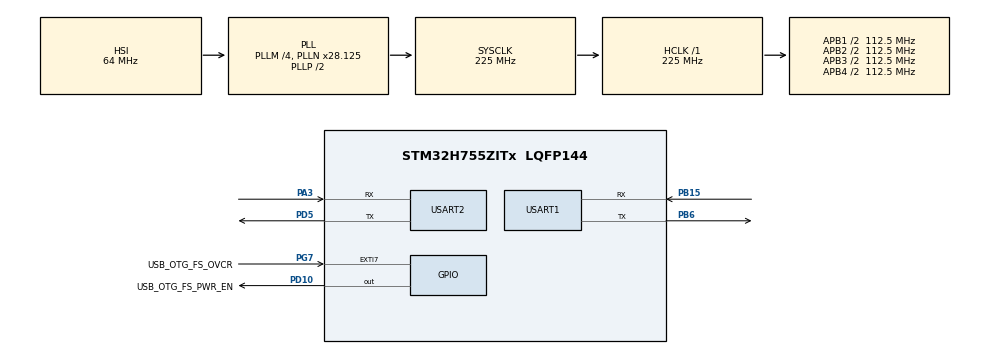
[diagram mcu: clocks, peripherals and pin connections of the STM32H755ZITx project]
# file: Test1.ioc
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CortexM4.IPs=FATFS_M4\:I,FREERTOS_M4\:I,IWDG2\:I,RCC,WWDG2\:I,DMA,BDMA,MDMA,NVIC2\:I,ETH,USART3,DEBUG,PDM2PCM_M4\:I,PWR,RESMGR_UTILITY,SYS_M4\:I,USB_DEVICE_M4\:I,USB_HOST_M4\:I,CORTEX_M4\:I,GPIO,OPENAMP_M4\:I,VREFBUF,NUCLEO-H755ZI-Q
CortexM7.IPs=FATFS_M7\:I,FREERTOS_M7\:I,IWDG1\:I,RCC\:I,WWDG1\:I,DMA\:I,BDMA\:I,MDMA\:I,NVIC1\:I,ETH\:I,USB_OTG_FS\:I,USB_OTG_FS1\:I,SYS\:I,CORTEX_M7\:I,DEBUG\:I,PDM2PCM_M7\:I,PWR\:I,RESMGR_UTILITY\:I,USB_DEVICE_M7\:I,USB_HOST_M7\:I,GPIO\:I,OPENAMP_M7\:I,VREFBUF\:I,NUCLEO-H755ZI-Q\:I,USART2\:I,TIM2\:I,USART3\:I,USART1\:I
CortexM7.Pins=PD10,PG7
Dma.Request0=USART2_TX
Dma.Request1=USART1_RX
Dma.Request2=USART1_TX
Dma.USART1_RX.1.Direction=DMA_PERIPH_TO_MEMORY
Dma.USART1_RX.1.EventEnable=DISABLE
Dma.USART1_RX.1.FIFOMode=DMA_FIFOMODE_DISABLE
Dma.USART1_RX.1.Instance=DMA1_Stream0
Dma.USART1_RX.1.MemDataAlignment=DMA_MDATAALIGN_BYTE
Dma.USART1_RX.1.MemInc=DMA_MINC_ENABLE
Dma.USART1_RX.1.Mode=DMA_CIRCULAR
Dma.USART1_RX.1.PeriphDataAlignment=DMA_PDATAALIGN_BYTE
Dma.USART1_RX.1.PeriphInc=DMA_PINC_DISABLE
Dma.USART1_RX.1.Polarity=HAL_DMAMUX_REQ_GEN_RISING
Dma.USART1_RX.1.Priority=DMA_PRIORITY_LOW
Dma.USART1_RX.1.RequestNumber=1
Dma.USART1_RX.1.SignalID=NONE
Dma.USART1_RX.1.SyncEnable=DISABLE
Dma.USART1_RX.1.SyncPolarity=HAL_DMAMUX_SYNC_NO_EVENT
Dma.USART1_RX.1.SyncRequestNumber=1
Dma.USART1_RX.1.SyncSignalID=NONE
Dma.USART1_TX.2.Direction=DMA_MEMORY_TO_PERIPH
Dma.USART1_TX.2.EventEnable=DISABLE
Dma.USART1_TX.2.FIFOMode=DMA_FIFOMODE_DISABLE
Dma.USART1_TX.2.Instance=DMA1_Stream1
Dma.USART1_TX.2.MemDataAlignment=DMA_MDATAALIGN_BYTE
Dma.USART1_TX.2.MemInc=DMA_MINC_ENABLE
Dma.USART1_TX.2.Mode=DMA_NORMAL
Dma.USART1_TX.2.PeriphDataAlignment=DMA_PDATAALIGN_BYTE
Dma.USART1_TX.2.PeriphInc=DMA_PINC_DISABLE
Dma.USART1_TX.2.Polarity=HAL_DMAMUX_REQ_GEN_RISING
Dma.USART1_TX.2.Priority=DMA_PRIORITY_LOW
Dma.USART1_TX.2.RequestNumber=1
Dma.USART1_TX.2.SignalID=NONE
Dma.USART1_TX.2.SyncEnable=DISABLE
Dma.USART1_TX.2.SyncPolarity=HAL_DMAMUX_SYNC_NO_EVENT
Dma.USART1_TX.2.SyncRequestNumber=1
Dma.USART1_TX.2.SyncSignalID=NONE
Dma.USART2_TX.0.Direction=DMA_MEMORY_TO_PERIPH
Dma.USART2_TX.0.EventEnable=DISABLE
Dma.USART2_TX.0.FIFOMode=DMA_FIFOMODE_DISABLE
Dma.USART2_TX.0.Instance=DMA1_Stream2
Dma.USART2_TX.0.MemDataAlignment=DMA_MDATAALIGN_BYTE
Dma.USART2_TX.0.MemInc=DMA_MINC_ENABLE
Dma.USART2_TX.0.Mode=DMA_NORMAL
Dma.USART2_TX.0.PeriphDataAlignment=DMA_PDATAALIGN_BYTE
Dma.USART2_TX.0.PeriphInc=DMA_PINC_DISABLE
Dma.USART2_TX.0.Polarity=HAL_DMAMUX_REQ_GEN_RISING
Dma.USART2_TX.0.Priority=DMA_PRIORITY_LOW
Dma.USART2_TX.0.RequestNumber=1
Dma.USART2_TX.0.SignalID=NONE
Dma.USART2_TX.0.SyncEnable=DISABLE
Dma.USART2_TX.0.SyncPolarity=HAL_DMAMUX_SYNC_NO_EVENT
Dma.USART2_TX.0.SyncRequestNumber=1
Dma.USART2_TX.0.SyncSignalID=NONE
Mcu.Family=STM32H7
Mcu.Name=STM32H755ZITx
Mcu.Package=LQFP144
NUCLEO-H755ZI-Q.BUTTON=1
NUCLEO-H755ZI-Q.LD1=true
NUCLEO-H755ZI-Q.LD2=true
NUCLEO-H755ZI-Q.LD3=true
NUCLEO-H755ZI-Q.VCP=true
NVIC1.DMA1_Stream0_IRQn=true\:0\:0\:false\:false\:true\:false\:true\:true
NVIC1.DMA1_Stream1_IRQn=true\:0\:0\:false\:false\:true\:false\:true\:true
NVIC1.DMA1_Stream2_IRQn=true\:0\:0\:false\:false\:true\:false\:true\:true
NVIC1.EXTI15_10_IRQn=true\:0\:0\:false\:false\:true\:false\:true\:true
NVIC1.PriorityGroup=NVIC_PRIORITYGROUP_4
NVIC1.TIM2_IRQn=true\:0\:0\:false\:false\:true\:true\:true\:true
NVIC1.USART1_IRQn=true\:0\:0\:false\:false\:true\:true\:true\:true
NVIC1.USART2_IRQn=true\:0\:0\:false\:false\:true\:true\:true\:true
NVIC2.PriorityGroup=NVIC_PRIORITYGROUP_4
PA1.PinAttribute=CortexM7
PA1.Signal=ETH_REF_CLK
PA11.PinAttribute=CortexM7
PA11.Signal=USB_OTG_FS_DM
PA12.PinAttribute=CortexM7
PA12.Signal=USB_OTG_FS_DP
PA2.PinAttribute=CortexM7
PA2.Signal=ETH_MDIO
PA3.Mode=Asynchronous
PA3.PinAttribute=CortexM7
PA3.Signal=USART2_RX
PA7.PinAttribute=CortexM7
PA7.Signal=ETH_CRS_DV
PA8.PinAttribute=CortexM7
PA8.Signal=USB_OTG_FS_SOF
PA9.PinAttribute=CortexM7
PA9.Signal=USB_OTG_FS_VBUS
PB13.PinAttribute=CortexM7
PB13.Signal=ETH_TXD1
PB15.Mode=Asynchronous
PB15.PinAttribute=CortexM7
PB15.Signal=USART1_RX
PB6.Mode=Asynchronous
PB6.PinAttribute=CortexM7
PB6.Signal=USART1_TX
PC1.PinAttribute=CortexM7
PC1.Signal=ETH_MDC
PC14-OSC32_IN\ (OSC32_IN).PinAttribute=Free
PC14-OSC32_IN\ (OSC32_IN).Signal=RCC_OSC32_IN
PC15-OSC32_OUT\ (OSC32_OUT).PinAttribute=Free
PC15-OSC32_OUT\ (OSC32_OUT).Signal=RCC_OSC32_OUT
PC4.PinAttribute=CortexM7
PC4.Signal=ETH_RXD0
PC5.PinAttribute=CortexM7
PC5.Signal=ETH_RXD1
PD10.GPIO_Label=USB_OTG_FS_PWR_EN
PD10.PinAttribute=CortexM7
PD10.Signal=GPIO_Output
PD5.Mode=Asynchronous
PD5.PinAttribute=CortexM7
PD5.Signal=USART2_TX
PD8.Signal=USART3_TX
PD9.Signal=USART3_RX
PG11.PinAttribute=CortexM7
PG11.Signal=ETH_TX_EN
PG13.PinAttribute=CortexM7
PG13.Signal=ETH_TXD0
PG7.GPIO_Label=USB_OTG_FS_OVCR
PG7.PinAttribute=CortexM7
PG7.Signal=GPXTI7
PH0-OSC_IN\ (PH0).PinAttribute=Free
PH0-OSC_IN\ (PH0).Signal=RCC_OSC_IN
PH1-OSC_OUT\ (PH1).PinAttribute=Free
PH1-OSC_OUT\ (PH1).Signal=RCC_OSC_OUT
ProjectManager.HeapSize=M4-0x200,M7-0x200
ProjectManager.StackSize=M4-0x400,M7-0x400
ProjectManager.TargetToolchain=STM32CubeIDE
RCC.ADCFreq_Value=129000000
RCC.APB1Freq_Value=112500000
RCC.APB2Freq_Value=112500000
RCC.APB3Freq_Value=112500000
RCC.APB4Freq_Value=112500000
RCC.CortexFreq_Value=225000000
RCC.D1PPRE=RCC_APB3_DIV2
RCC.D2PPRE1=RCC_APB1_DIV2
RCC.D2PPRE2=RCC_APB2_DIV2
RCC.D3PPRE=RCC_APB4_DIV2
RCC.DIVM1=4
RCC.DIVN1=28
RCC.DIVQ1=5
RCC.HCLKFreq_Value=225000000
RCC.PLL2FRACN=0
RCC.PLL3FRACN=0
RCC.PLLFRACN=1024
RCC.SYSCLKFreq_VALUE=225000000
RCC.SYSCLKSource=RCC_SYSCLKSOURCE_PLLCLK
RCC.SupplySource=PWR_DIRECT_SMPS_SUPPLY
RCC.USBFreq_Value=90000000
TIM2.Period=169
TIM2.Prescaler=22499
USART1.VirtualMode-Asynchronous=VM_ASYNC
USART2.VirtualMode-Asynchronous=VM_ASYNC
VP_NUCLEO-H755ZI-Q_VS_BSP_COMMON.Mode=COMMON
VP_SYS_M4_VS_Systick.Mode=SysTick
VP_TIM2_VS_ClockSourceINT.Mode=Internal
board=NUCLEO-H755ZI-Q

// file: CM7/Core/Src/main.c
/* USER CODE BEGIN Header */
/**
  ******************************************************************************
  * @file           : main.c
  * @brief          : Main program body for NUCLEO-H755ZI-Q
  ******************************************************************************
  * @attention
  *
  * Copyright (c) 2026 STMicroelectronics.
  * All rights reserved.
  *
  * This software is licensed under terms that can be found in the LICENSE file
  * in the root directory of this software component.
  * If no LICENSE file comes with this software, it is provided AS-IS.
  *
  ******************************************************************************
  */
/* USER CODE END Header */
#include "main.h"
#include "string.h"
#include "stdio.h"
/* USER CODE BEGIN Includes */
#define RING_BUFFER_SIZE 4096
#define DMA_BUFFER_SIZE 2048
/* USER CODE END Includes */

/* USER CODE BEGIN PTD */
typedef struct {
	uint8_t buffer[RING_BUFFER_SIZE];
	uint16_t head;
	uint16_t tail;
} ring_buffer_t;
ring_buffer_t uart_ring_buffer;

typedef struct {
	uint8_t parameter_type;
	uint8_t packet_type;
	uint8_t packet_id;
} protocol_frame_t;
protocol_frame_t frame;

static uint16_t g_dma_old_pos = 0;
static volatile uint16_t g_dma_size = 0;
static volatile uint8_t rx_event_flag = 0;
static volatile uint8_t ring_read_flag = 0;
static volatile uint8_t frame_ready_flag = 0;
static volatile uint8_t timer_flag = 0;

/* Note: 32-byte alignment for STM32H7 AXI DMA buffer */
static uint8_t g_dma_buffer[DMA_BUFFER_SIZE] __attribute__((aligned(32)));
static uint8_t g_parser_buffer[64];

// SPO2 - 10 Byte Command Database
static const uint8_t spo2_database[][10] = {
	{ 0xFA, 0x0A, 0x03, 0x01, 0x01, 0x00, 0x00, 0x00, 0x00, 0x09 }, // DC01-Handshake
	{ 0xFA, 0x0A, 0x03, 0x02, 0x03, 0x00, 0x00, 0x00, 0x00, 0x0C }  // DR03-Self Test Request
};

// SPO2 - Patient Type Configuration (11 bytes)
static const uint8_t spo2_patient_type[][11] = {
	{ 0xFA, 0x0B, 0x03, 0x01, 0x04, 0x00, 0x00, 0x00, 0x00, 0x00, 0x0D }, // Adult
	{ 0xFA, 0x0B, 0x03, 0x01, 0x04, 0x00, 0x01, 0x00, 0x00, 0x00, 0x0E }, // Children
	{ 0xFA, 0x0B, 0x03, 0x01, 0x04, 0x00, 0x02, 0x00, 0x00, 0x00, 0x0F }  // Neonate
};

// SPO2 - Sensitivity Configuration (11 bytes)
static const uint8_t spo2_sensitivity[][11] = {
	{ 0xFA, 0x0B, 0x03, 0x01, 0x05, 0x00, 0x00, 0x00, 0x00, 0x00, 0x0E }, // Low
	{ 0xFA, 0x0B, 0x03, 0x01, 0x05, 0x00, 0x00, 0x00, 0x00, 0x01, 0x0F }, // Middle
	{ 0xFA, 0x0B, 0x03, 0x01, 0x05, 0x00, 0x00, 0x00, 0x00, 0x02, 0x10 }, // High
	{ 0xFA, 0x0B, 0x03, 0x01, 0x05, 0x00, 0x00, 0x00, 0x00, 0x03, 0x11 }  // Highest
};

// NIBP - 10 Byte Command Database
static const uint8_t nibp_database[][10] = {
	{ 0xFA, 0x0A, 0x02, 0x01, 0x01, 0x00, 0x00, 0x00, 0x00, 0x08 }, // DC01-Handshake
	{ 0xFA, 0x0A, 0x02, 0x01, 0x02, 0x00, 0x00, 0x00, 0x00, 0x09 }, // DC01-Start measurement
	{ 0xFA, 0x0A, 0x02, 0x02, 0x03, 0x00, 0x00, 0x00, 0x00, 0x0B }, // DR03-Final result request
	{ 0xFA, 0x0A, 0x02, 0x01, 0x20, 0x00, 0x00, 0x00, 0x00, 0x27 }  // DC20-Stop measurement
};

// NIBP - Patient Type Configuration (11 bytes)
static const uint8_t nibp_patient_type[][11] = {
	{ 0xFA, 0x0B, 0x02, 0x01, 0x10, 0x00, 0x00, 0x00, 0x00, 0x01, 0x19 }, // DC00-Adult
	{ 0xFA, 0x0B, 0x02, 0x01, 0x10, 0x00, 0x00, 0x00, 0x00, 0x02, 0x1A }, // DC02-Child
	{ 0xFA, 0x0B, 0x02, 0x01, 0x10, 0x00, 0x00, 0x00, 0x00, 0x03, 0x1C }  // DC01-Neonate
};

// ECG Command Database (10 Bytes)
static const uint8_t ecg_database[10] = {
	0xFA, 0x0A, 0x01, 0x01, 0x01, 0x00, 0x00, 0x00, 0x00, 0x07  // DC01 - Host Handshake Command
};

// ECG Patient Type Configuration (11 bytes)
static const uint8_t ecg_patient_type[][11] = {
	{ 0xFA, 0x0B, 0x01, 0x01, 0x10, 0x00, 0x00, 0x00, 0x00, 0x00, 0x17 }, // DC10 - Adult
	{ 0xFA, 0x0B, 0x01, 0x01, 0x10, 0x00, 0x00, 0x00, 0x00, 0x01, 0x18 }, // DC10 - Neonate
	{ 0xFA, 0x0B, 0x01, 0x01, 0x10, 0x00, 0x00, 0x00, 0x00, 0x02, 0x19 }  // DC10 - Pediatric (Children)
};

// ECG Signal Configuration Commands
static const uint8_t ecg_leadmode[11] = {
	0xFA, 0x0B, 0x01, 0x01, 0x20, 0x00, 0x00, 0x00, 0x00, 0x01, 0x27  // DC20 - ECG Lead Mode
};

static const uint8_t ecg_st_tempelate[14] = {
	0xFA, 0x0E, 0x01, 0x01, 0x25, 0x00, 0x00, 0x00, 0x00, 0x00, 0x00, 0x00, 0x00, 0x2F // DC25 - ST Template Config
};

// SPO2 Real-Time Information Structure
typedef struct {
	uint16_t PR;               // BPM
	uint8_t spo2;              // SpO2 (%)
	uint16_t PI;               // PI
	uint8_t status1;
	uint8_t status2;
	uint8_t handshakestatus;
	uint8_t pulseWaveform;
	uint8_t pulseTone;
	uint8_t barGraph;
	uint8_t selfTestResult;
} SPO2_Result_t;
SPO2_Result_t spo2;

// NIBP Measurement Result Structure
typedef struct {
	uint16_t SYS;              // SYS (mmHg)
	uint16_t MAP;              // MAP (mmHg)
	uint16_t DIA;              // DIA (mmHg)
	uint16_t PI;               // BPM
	uint8_t patient_type;
	uint8_t errorCode;
	uint8_t measurement_Status;
	uint8_t measurement_result_Status;
	uint16_t cuffPressure;    // Current cuff pressure (mmHg)
	uint8_t cuffTypeError;
	uint8_t systemStatus;
	uint8_t handshake;
	uint8_t operationtype;
	uint8_t start_end_Status;
} NIBP_Result_t;
NIBP_Result_t nibp;

typedef struct {
	uint8_t status;
	uint16_t ch1, ch2, v1, rr_wave;
	uint16_t hr, rr;
	uint8_t lead_active, ch_active;
	uint8_t ch_overload, cable_type;
	uint8_t hr_ar_ch_Analysis;
	uint8_t arr_code;
	uint16_t last_arr, cur_arr;
	uint8_t arr_status;
	uint8_t st_group;
	int16_t st1, st2, st3;
} ECG_Result_t;
ECG_Result_t ecg;

typedef struct {
	uint8_t temp_status;
	uint16_t t1, t2;
} TEMP_Result_t;
TEMP_Result_t temp;

typedef struct {
	uint8_t hypoperfusion;    // 1 = Low blood perfusion (Bit 0)
	uint8_t motion;           // 1 = Motion interference (Bit 1)
	uint8_t excess_motion;    // 1 = Excessive motion    (Bit 2)
	uint8_t searching;        // 1 = Searching pulse     (Bit 3)
	uint8_t search_timeout;   // 1 = Search too long     (Bit 4)
	uint8_t sensor_off;       // 1 = Probe disconnected  (Bit 5)
	uint8_t finger_off;       // 1 = Finger out          (Bit 6)
	uint8_t probe_fault;      // 1 = Probe hardware fail (Bit 7)

	uint8_t hw_error;         // 1 = Hardware error      (Bit 0)
	uint8_t light_high;       // 1 = Ambient light high  (Bit 1)
	uint8_t probe_mismatch;   // 1 = Probe mismatch      (Bit 2)

	uint8_t status_flag;      // 1 = Any status/error changed
} SPO2_error_t;

SPO2_error_t spo2_status;

typedef struct {
	uint8_t pulse_flag;
	uint8_t data_flag;
	uint8_t successflag;
	uint8_t errorflag;
} spo2_flag_t;
spo2_flag_t spo2_send;

/* USER CODE END PTD */

/* USER CODE BEGIN PD */

/* DUAL_CORE_BOOT_SYNC_SEQUENCE: Define for dual core boot synchronization    */
/*                             demonstration code based on hardware semaphore */
/* This define is present in both CM7/CM4 projects                            */
/* To comment when developping/debugging on a single core                     */
#define DUAL_CORE_BOOT_SYNC_SEQUENCE

#if defined(DUAL_CORE_BOOT_SYNC_SEQUENCE)
#ifndef HSEM_ID_0
#define HSEM_ID_0 (0U) /* HW semaphore 0*/
#endif
#endif /* DUAL_CORE_BOOT_SYNC_SEQUENCE */

/* USER CODE END PD */

COM_InitTypeDef BspCOMInit;

TIM_HandleTypeDef htim2;

UART_HandleTypeDef huart1;
UART_HandleTypeDef huart2;
DMA_HandleTypeDef hdma_usart1_rx;
DMA_HandleTypeDef hdma_usart1_tx;
DMA_HandleTypeDef hdma_usart2_tx;

void SystemClock_Config(void);
static void MX_GPIO_Init(void);
static void MX_DMA_Init(void);
static void MX_USART1_UART_Init(void);
static void MX_USART2_UART_Init(void);
static void MX_TIM2_Init(void);
/* USER CODE BEGIN PFP */
static void Ring_buffer_init(ring_buffer_t *l_ring_buffer);
static void Ring_buffer_write(ring_buffer_t *l_ring_buffer, uint8_t *data, uint16_t len);
static uint16_t Ring_buffer_count(ring_buffer_t *l_ring_buffer);
static void Ring_buffer_read(ring_buffer_t *l_ring_buffer, uint8_t *l_parser_buffer, uint16_t start_pos, uint16_t len);
static void Ring_write_handler(void);
static void Ring_read_handler(void);
static void packet_dispatcher(uint8_t *l_parser_buffer);
static void ecg_handler(void);
static void spo2_handler(void);
static void nibp_handler(void);
static uint8_t Checksum(uint8_t *l_parser_buffer);
static void timer_handler(void);
static void Display_spo2_success(void);
static void Display_spo2_error(void);
/* USER CODE END PFP */

/* USER CODE BEGIN 0 */
HAL_StatusTypeDef HAL_TIM_Base_Start_IT(TIM_HandleTypeDef *htim);
/* USER CODE END 0 */

int main(void)
{

/* USER CODE BEGIN Boot_Mode_Sequence_0 */
#if defined(DUAL_CORE_BOOT_SYNC_SEQUENCE)
  int32_t timeout;
#endif /* DUAL_CORE_BOOT_SYNC_SEQUENCE */
/* USER CODE END Boot_Mode_Sequence_0 */

/* USER CODE BEGIN Boot_Mode_Sequence_1 */
#if defined(DUAL_CORE_BOOT_SYNC_SEQUENCE)
  /* Wait until CPU2 boots and enters in stop mode or timeout*/
  timeout = 0xFFFF;
  while((__HAL_RCC_GET_FLAG(RCC_FLAG_D2CKRDY) != RESET) && (timeout-- > 0));
  if ( timeout < 0 )
  {
  Error_Handler();
  }
#endif /* DUAL_CORE_BOOT_SYNC_SEQUENCE */
/* USER CODE END Boot_Mode_Sequence_1 */
  /* MCU Configuration--------------------------------------------------------*/

  /* Reset of all peripherals, Initializes the Flash interface and the Systick. */
  HAL_Init();

  /* Configure the system clock */
  SystemClock_Config();
/* USER CODE BEGIN Boot_Mode_Sequence_2 */
#if defined(DUAL_CORE_BOOT_SYNC_SEQUENCE)
/* When system initialization is finished, Cortex-M7 will release Cortex-M4 by means of
HSEM notification */
/*HW semaphore Clock enable*/
__HAL_RCC_HSEM_CLK_ENABLE();
/*Take HSEM */
HAL_HSEM_FastTake(HSEM_ID_0);
/*Release HSEM in order to notify the CPU2(CM4)*/
HAL_HSEM_Release(HSEM_ID_0,0);
/* wait until CPU2 wakes up from stop mode */
timeout = 0xFFFF;
while((__HAL_RCC_GET_FLAG(RCC_FLAG_D2CKRDY) == RESET) && (timeout-- > 0));
if ( timeout < 0 )
{
Error_Handler();
}
#endif /* DUAL_CORE_BOOT_SYNC_SEQUENCE */
/* USER CODE END Boot_Mode_Sequence_2 */

  /* Initialize all configured peripherals */
  MX_GPIO_Init();
  MX_DMA_Init();
  MX_USART1_UART_Init();
  MX_USART2_UART_Init();
  MX_TIM2_Init();
  /* USER CODE BEGIN 2 */
  Ring_buffer_init(&uart_ring_buffer);
  memset(g_dma_buffer, 0, sizeof(g_dma_buffer));
  HAL_UARTEx_ReceiveToIdle_DMA(&huart1, g_dma_buffer, DMA_BUFFER_SIZE);
  __HAL_DMA_DISABLE_IT(huart1.hdmarx, DMA_IT_HT);
  HAL_TIM_Base_Start_IT(&htim2);
  /* USER CODE END 2 */

  /* Initialize leds */
  BSP_LED_Init(LED_GREEN);
  BSP_LED_Init(LED_YELLOW);
  BSP_LED_Init(LED_RED);

  /* Initialize USER push-button, will be used to trigger an interrupt each time it's pressed.*/
  BSP_PB_Init(BUTTON_USER, BUTTON_MODE_EXTI);

  /* Initialize COM1 port (115200, 8 bits (7-bit data + 1 stop bit), no parity */
  BspCOMInit.BaudRate   = 115200;
  BspCOMInit.WordLength = COM_WORDLENGTH_8B;
  BspCOMInit.StopBits   = COM_STOPBITS_1;
  BspCOMInit.Parity     = COM_PARITY_NONE;
  BspCOMInit.HwFlowCtl  = COM_HWCONTROL_NONE;
  if (BSP_COM_Init(COM1, &BspCOMInit) != BSP_ERROR_NONE)
  {
    Error_Handler();
  }

  /* Infinite loop */
  /* USER CODE BEGIN WHILE */
  while (1)
  {
		if (timer_flag == 1) {
			timer_handler();
		}

		if (rx_event_flag == 1) {
			Ring_write_handler();
		}

		if (ring_read_flag == 1) {
			Ring_read_handler();
		}

		if (frame_ready_flag == 1) {
			packet_dispatcher(g_parser_buffer);
		}
    /* USER CODE END WHILE */

  }
}

void SystemClock_Config(void)
{
  RCC_OscInitTypeDef RCC_OscInitStruct = {0};
  RCC_ClkInitTypeDef RCC_ClkInitStruct = {0};

  /** Supply configuration update enable
  */
  HAL_PWREx_ConfigSupply(PWR_DIRECT_SMPS_SUPPLY);

  /** Configure the main internal regulator output voltage
  */

  while(!__HAL_PWR_GET_FLAG(PWR_FLAG_VOSRDY)) {}

  /** Initializes the RCC Oscillators according to the specified parameters
  * in the RCC_OscInitTypeDef structure.
  */
  RCC_OscInitStruct.OscillatorType = RCC_OSCILLATORTYPE_HSI;
  RCC_OscInitStruct.HSIState = RCC_HSI_DIV1;
  RCC_OscInitStruct.HSICalibrationValue = RCC_HSICALIBRATION_DEFAULT;
  RCC_OscInitStruct.PLL.PLLState = RCC_PLL_ON;
  RCC_OscInitStruct.PLL.PLLSource = RCC_PLLSOURCE_HSI;
  RCC_OscInitStruct.PLL.PLLM = 4;
  RCC_OscInitStruct.PLL.PLLN = 28;
  RCC_OscInitStruct.PLL.PLLP = 2;
  RCC_OscInitStruct.PLL.PLLQ = 5;
  RCC_OscInitStruct.PLL.PLLR = 2;
  RCC_OscInitStruct.PLL.PLLRGE = RCC_PLL1VCIRANGE_3;
  RCC_OscInitStruct.PLL.PLLVCOSEL = RCC_PLL1VCOWIDE;
  RCC_OscInitStruct.PLL.PLLFRACN = 1024;
  if (HAL_RCC_OscConfig(&RCC_OscInitStruct) != HAL_OK)
  {
    Error_Handler();
  }

  /** Initializes the CPU, AHB and APB buses clocks
  */
  RCC_ClkInitStruct.ClockType = RCC_CLOCKTYPE_HCLK|RCC_CLOCKTYPE_SYSCLK
                              |RCC_CLOCKTYPE_PCLK1|RCC_CLOCKTYPE_PCLK2
                              |RCC_CLOCKTYPE_D3PCLK1|RCC_CLOCKTYPE_D1PCLK1;
  RCC_ClkInitStruct.SYSCLKSource = RCC_SYSCLKSOURCE_PLLCLK;
  RCC_ClkInitStruct.SYSCLKDivider = RCC_SYSCLK_DIV1;
  RCC_ClkInitStruct.AHBCLKDivider = RCC_HCLK_DIV1;
  RCC_ClkInitStruct.APB3CLKDivider = RCC_APB3_DIV2;
  RCC_ClkInitStruct.APB1CLKDivider = RCC_APB1_DIV2;
  RCC_ClkInitStruct.APB2CLKDivider = RCC_APB2_DIV2;
  RCC_ClkInitStruct.APB4CLKDivider = RCC_APB4_DIV2;

  if (HAL_RCC_ClockConfig(&RCC_ClkInitStruct, FLASH_LATENCY_0) != HAL_OK)
  {
    Error_Handler();
  }
}

static void MX_TIM2_Init(void)
{

  TIM_ClockConfigTypeDef sClockSourceConfig = {0};
  TIM_MasterConfigTypeDef sMasterConfig = {0};

  htim2.Instance = TIM2;
  htim2.Init.Prescaler = 22499;
  htim2.Init.CounterMode = TIM_COUNTERMODE_UP;
  htim2.Init.Period = 169;
  htim2.Init.ClockDivision = TIM_CLOCKDIVISION_DIV1;
  htim2.Init.AutoReloadPreload = TIM_AUTORELOAD_PRELOAD_DISABLE;
  if (HAL_TIM_Base_Init(&htim2) != HAL_OK)
  {
    Error_Handler();
  }
  sClockSourceConfig.ClockSource = TIM_CLOCKSOURCE_INTERNAL;
  if (HAL_TIM_ConfigClockSource(&htim2, &sClockSourceConfig) != HAL_OK)
  {
    Error_Handler();
  }
  sMasterConfig.MasterOutputTrigger = TIM_TRGO_RESET;
  sMasterConfig.MasterSlaveMode = TIM_MASTERSLAVEMODE_DISABLE;
  if (HAL_TIMEx_MasterConfigSynchronization(&htim2, &sMasterConfig) != HAL_OK)
  {
    Error_Handler();
  }

}

static void MX_USART1_UART_Init(void)
{

  huart1.Instance = USART1;
  huart1.Init.BaudRate = 115200;
  huart1.Init.WordLength = UART_WORDLENGTH_8B;
  huart1.Init.StopBits = UART_STOPBITS_1;
  huart1.Init.Parity = UART_PARITY_NONE;
  huart1.Init.Mode = UART_MODE_TX_RX;
  huart1.Init.HwFlowCtl = UART_HWCONTROL_NONE;
  huart1.Init.OverSampling = UART_OVERSAMPLING_16;
  huart1.Init.OneBitSampling = UART_ONE_BIT_SAMPLE_DISABLE;
  huart1.Init.ClockPrescaler = UART_PRESCALER_DIV1;
  huart1.AdvancedInit.AdvFeatureInit = UART_ADVFEATURE_NO_INIT;
  if (HAL_UART_Init(&huart1) != HAL_OK)
  {
    Error_Handler();
  }
  if (HAL_UARTEx_SetTxFifoThreshold(&huart1, UART_TXFIFO_THRESHOLD_1_8) != HAL_OK)
  {
    Error_Handler();
  }
  if (HAL_UARTEx_SetRxFifoThreshold(&huart1, UART_RXFIFO_THRESHOLD_1_8) != HAL_OK)
  {
    Error_Handler();
  }
  if (HAL_UARTEx_DisableFifoMode(&huart1) != HAL_OK)
  {
    Error_Handler();
  }

}

static void MX_USART2_UART_Init(void)
{

  huart2.Instance = USART2;
  huart2.Init.BaudRate = 115200;
  huart2.Init.WordLength = UART_WORDLENGTH_8B;
  huart2.Init.StopBits = UART_STOPBITS_1;
  huart2.Init.Parity = UART_PARITY_NONE;
  huart2.Init.Mode = UART_MODE_TX_RX;
  huart2.Init.HwFlowCtl = UART_HWCONTROL_NONE;
  huart2.Init.OverSampling = UART_OVERSAMPLING_16;
  huart2.Init.OneBitSampling = UART_ONE_BIT_SAMPLE_DISABLE;
  huart2.Init.ClockPrescaler = UART_PRESCALER_DIV1;
  huart2.AdvancedInit.AdvFeatureInit = UART_ADVFEATURE_NO_INIT;
  if (HAL_UART_Init(&huart2) != HAL_OK)
  {
    Error_Handler();
  }
  if (HAL_UARTEx_SetTxFifoThreshold(&huart2, UART_TXFIFO_THRESHOLD_1_8) != HAL_OK)
  {
    Error_Handler();
  }
  if (HAL_UARTEx_SetRxFifoThreshold(&huart2, UART_RXFIFO_THRESHOLD_1_8) != HAL_OK)
  {
    Error_Handler();
  }
  if (HAL_UARTEx_DisableFifoMode(&huart2) != HAL_OK)
  {
    Error_Handler();
  }

}

static void MX_DMA_Init(void)
{

  /* DMA controller clock enable */
  __HAL_RCC_DMA1_CLK_ENABLE();

  /* DMA interrupt init */
  /* DMA1_Stream0_IRQn interrupt configuration */
  HAL_NVIC_SetPriority(DMA1_Stream0_IRQn, 0, 0);
  HAL_NVIC_EnableIRQ(DMA1_Stream0_IRQn);
  /* DMA1_Stream1_IRQn interrupt configuration */
  HAL_NVIC_SetPriority(DMA1_Stream1_IRQn, 0, 0);
  HAL_NVIC_EnableIRQ(DMA1_Stream1_IRQn);
  /* DMA1_Stream2_IRQn interrupt configuration */
  HAL_NVIC_SetPriority(DMA1_Stream2_IRQn, 0, 0);
  HAL_NVIC_EnableIRQ(DMA1_Stream2_IRQn);

}

static void MX_GPIO_Init(void)
{
  GPIO_InitTypeDef GPIO_InitStruct = {0};

  /* GPIO Ports Clock Enable */
  __HAL_RCC_GPIOC_CLK_ENABLE();
  __HAL_RCC_GPIOA_CLK_ENABLE();
  __HAL_RCC_GPIOB_CLK_ENABLE();
  __HAL_RCC_GPIOD_CLK_ENABLE();
  __HAL_RCC_GPIOG_CLK_ENABLE();

  /*Configure GPIO pins : PC1 PC4 PC5 */
  GPIO_InitStruct.Pin = GPIO_PIN_1|GPIO_PIN_4|GPIO_PIN_5;
  GPIO_InitStruct.Mode = GPIO_MODE_AF_PP;
  GPIO_InitStruct.Pull = GPIO_NOPULL;
  GPIO_InitStruct.Speed = GPIO_SPEED_FREQ_HIGH;
  GPIO_InitStruct.Alternate = GPIO_AF11_ETH;
  HAL_GPIO_Init(GPIOC, &GPIO_InitStruct);

  /*Configure GPIO pins : PA1 PA2 PA7 */
  GPIO_InitStruct.Pin = GPIO_PIN_1|GPIO_PIN_2|GPIO_PIN_7;
  GPIO_InitStruct.Mode = GPIO_MODE_AF_PP;
  GPIO_InitStruct.Pull = GPIO_NOPULL;
  GPIO_InitStruct.Speed = GPIO_SPEED_FREQ_HIGH;
  GPIO_InitStruct.Alternate = GPIO_AF11_ETH;
  HAL_GPIO_Init(GPIOA, &GPIO_InitStruct);

  /*Configure GPIO pin : PB13 */
  GPIO_InitStruct.Pin = GPIO_PIN_13;
  GPIO_InitStruct.Mode = GPIO_MODE_AF_PP;
  GPIO_InitStruct.Pull = GPIO_NOPULL;
  GPIO_InitStruct.Speed = GPIO_SPEED_FREQ_HIGH;
  GPIO_InitStruct.Alternate = GPIO_AF11_ETH;
  HAL_GPIO_Init(GPIOB, &GPIO_InitStruct);

  /*Configure GPIO pins : PA8 PA11 PA12 */
  GPIO_InitStruct.Pin = GPIO_PIN_8|GPIO_PIN_11|GPIO_PIN_12;
  GPIO_InitStruct.Mode = GPIO_MODE_AF_PP;
  GPIO_InitStruct.Pull = GPIO_NOPULL;
  GPIO_InitStruct.Speed = GPIO_SPEED_FREQ_LOW;
  GPIO_InitStruct.Alternate = GPIO_AF10_OTG1_FS;
  HAL_GPIO_Init(GPIOA, &GPIO_InitStruct);

  /*Configure GPIO pins : PG11 PG13 */
  GPIO_InitStruct.Pin = GPIO_PIN_11|GPIO_PIN_13;
  GPIO_InitStruct.Mode = GPIO_MODE_AF_PP;
  GPIO_InitStruct.Pull = GPIO_NOPULL;
  GPIO_InitStruct.Speed = GPIO_SPEED_FREQ_HIGH;
  GPIO_InitStruct.Alternate = GPIO_AF11_ETH;
  HAL_GPIO_Init(GPIOG, &GPIO_InitStruct);

}

/* USER CODE BEGIN 4 */
void HAL_TIM_PeriodElapsedCallback(TIM_HandleTypeDef *htim) {
	timer_flag = 1;
}

static void timer_handler(void) {
	timer_flag = 0;
	if (spo2_send.data_flag == 1) {
		spo2_send.data_flag = 0;

		if (spo2_send.errorflag == 1) {
			spo2_send.errorflag = 0;
			Display_spo2_error();
			spo2_send.successflag = 0;
		}
		if (spo2_send.successflag == 1) {
			spo2_send.successflag = 0;
			Display_spo2_success();
		}
	}

	if (spo2_send.pulse_flag == 1) {
		spo2_send.pulse_flag = 0;
	}
}

void Display_spo2_success(void) {
	char buf[80];
	int len;

	len = snprintf(buf, sizeof(buf), "SpO2: %d%%  PR: %d bpm  PI: %d\r\n",
			spo2.spo2, spo2.PR, spo2.PI);
	HAL_UART_Transmit(&huart2, (uint8_t*) buf, len, 50);

	if (spo2_status.hypoperfusion) {
		HAL_UART_Transmit(&huart2, (uint8_t*) "hypoperfusion error", 20, 50);
		return;
	}

	if (spo2_status.motion) {
		HAL_UART_Transmit(&huart2, (uint8_t*) "motion interference error", 26, 50);
		return;
	}

	if (spo2_status.excess_motion) {
		HAL_UART_Transmit(&huart2, (uint8_t*) "excessive motion error", 23, 50);
		return;
	}

	if (spo2_status.light_high) {
		HAL_UART_Transmit(&huart2, (uint8_t*) "ambient light high error", 25, 50);
		return;
	}
}

static void Display_spo2_error(void) {

	if (spo2_status.searching) {
		HAL_UART_Transmit(&huart2, (uint8_t*) "searching pulse error", 22, 50);
		return;
	}

	if (spo2_status.search_timeout) {
		HAL_UART_Transmit(&huart2, (uint8_t*) "search timeout error", 21, 50);
		return;
	}

	if (spo2_status.sensor_off) {
		HAL_UART_Transmit(&huart2, (uint8_t*) "sensor off error", 17, 50);
		return;
	}

	if (spo2_status.finger_off) {
		HAL_UART_Transmit(&huart2, (uint8_t*) "finger off error", 17, 50);
		return;
	}

	if (spo2_status.probe_fault) {
		HAL_UART_Transmit(&huart2, (uint8_t*) "probe fault error", 18, 50);
		return;
	}

	if (spo2_status.hw_error) {
		HAL_UART_Transmit(&huart2, (uint8_t*) "hardware error", 15, 50);
		return;
	}

	if (spo2_status.probe_mismatch) {
		HAL_UART_Transmit(&huart2, (uint8_t*) "probe mismatch error", 21, 50);
		return;
	}
}

void HAL_UARTEx_RxEventCallback(UART_HandleTypeDef *huart, uint16_t Size) {
	if (huart->Instance == USART1) {
		rx_event_flag = 1;
		g_dma_size = Size;
	}
}

static void Ring_buffer_init(ring_buffer_t *l_ring_buffer) {
	l_ring_buffer->head = 0;
	l_ring_buffer->tail = 0;
}

static uint16_t Ring_buffer_count(ring_buffer_t *l_ring_buffer) {
	if (l_ring_buffer->head >= l_ring_buffer->tail) {
		return l_ring_buffer->head - l_ring_buffer->tail;
	} else {
		return (RING_BUFFER_SIZE - l_ring_buffer->tail) + l_ring_buffer->head;
	}
}

static void Ring_buffer_write(ring_buffer_t *l_ring_buffer, uint8_t *data, uint16_t len) {
	for (uint16_t i = 0; i < len; i++) {
		uint16_t next_head = (l_ring_buffer->head + 1) % RING_BUFFER_SIZE;
		if (next_head == l_ring_buffer->tail) {
			continue;
		}
		l_ring_buffer->buffer[l_ring_buffer->head] = data[i];
		l_ring_buffer->head = next_head;
	}
}

static void Ring_buffer_read(ring_buffer_t *l_ring_buffer, uint8_t *l_parser_buffer, uint16_t start_pos, uint16_t len) {
	for (uint16_t i = 0; i < len; i++) {
		l_parser_buffer[i] = l_ring_buffer->buffer[(start_pos + i) % RING_BUFFER_SIZE];
	}
	l_ring_buffer->tail = (start_pos + len) % RING_BUFFER_SIZE;
}

static uint8_t Checksum(uint8_t *l_parser_buffer) {
	uint8_t length, received_checksum, calculated_checksum, i;
	uint16_t sum = 0;

	length = l_parser_buffer[1];
	received_checksum = l_parser_buffer[length - 1];

	for (i = 0; i < (length - 1); i++) {
		sum += l_parser_buffer[i];
	}

	calculated_checksum = (uint8_t) sum;
	return (calculated_checksum == received_checksum) ? 1 : 0;
}

static void Ring_write_handler(void) {
	uint16_t len, len1, len2;
	rx_event_flag = 0;
	if (g_dma_size > g_dma_old_pos) {
		len = g_dma_size - g_dma_old_pos;
		Ring_buffer_write(&uart_ring_buffer, &g_dma_buffer[g_dma_old_pos], len);
	} else {
		len1 = DMA_BUFFER_SIZE - g_dma_old_pos;
		Ring_buffer_write(&uart_ring_buffer, &g_dma_buffer[g_dma_old_pos], len1);

		len2 = g_dma_size;
		if (len2 > 0) {
			Ring_buffer_write(&uart_ring_buffer, &g_dma_buffer[0], len2);
		}
	}

	if (g_dma_size == DMA_BUFFER_SIZE) {
		g_dma_old_pos = 0;
	} else {
		g_dma_old_pos = g_dma_size;
	}

	ring_read_flag = 1;
}

static void Ring_read_handler(void) {
	uint16_t available_data, length_index;
	uint8_t fa_found_flag = 0;
	uint16_t frame_total_len = 0;
	uint16_t fa_pos = 0;
	uint8_t validate;
	ring_read_flag = 0;

	available_data = Ring_buffer_count(&uart_ring_buffer);

	for (; available_data >= 10; available_data--) {
		if (uart_ring_buffer.buffer[uart_ring_buffer.tail] == 0xFA) {
			fa_pos = uart_ring_buffer.tail;
			length_index = (uart_ring_buffer.tail + 1) % RING_BUFFER_SIZE;
			frame_total_len = uart_ring_buffer.buffer[length_index];
			fa_found_flag = 1;
			break;
		}
		uart_ring_buffer.tail = (uart_ring_buffer.tail + 1) % RING_BUFFER_SIZE;
	}

	if (fa_found_flag == 1) {
		fa_found_flag = 0;

		if (frame_total_len < 10 || frame_total_len > 28) {
			uart_ring_buffer.tail = (uart_ring_buffer.tail + 1) % RING_BUFFER_SIZE;
			return;
		}

		if (available_data < frame_total_len) {
			return;
		}

		Ring_buffer_read(&uart_ring_buffer, g_parser_buffer, fa_pos, frame_total_len);
		ring_read_flag = 1;
		validate = Checksum(g_parser_buffer);
		if (validate) {
			frame_ready_flag = 1;
		}
	}
}

static void packet_dispatcher(uint8_t *l_parser_buffer) {
	frame_ready_flag = 0;
	frame.parameter_type = l_parser_buffer[2];
	frame.packet_type = l_parser_buffer[3];
	frame.packet_id = l_parser_buffer[4];

	switch (frame.parameter_type) {
	case 0x01:
		ecg_handler();
		break;
	case 0x02:
		nibp_handler();
		break;
	case 0x03:
		spo2_handler();
		break;
	default:
		break;
	}
}

static void ecg_handler(void) {
	switch (frame.packet_type) {
	case 0x04:
		switch (frame.packet_id) {
		case 0x81:
			HAL_UART_Transmit_DMA(&huart1, spo2_database[0], 10);
			break;
		case 0x90:
			ecg.status = g_parser_buffer[9];
			ecg.ch1 = ((g_parser_buffer[11] & 0x0F) << 8) | g_parser_buffer[10];
			ecg.ch2 = (g_parser_buffer[13] << 4) | ((g_parser_buffer[12] >> 4) & 0x0F);
			ecg.v1 = ((g_parser_buffer[14] & 0x0F) << 8) | g_parser_buffer[13];
			ecg.rr_wave = (g_parser_buffer[15] << 4) | ((g_parser_buffer[14] >> 4) & 0x0F);
			break;
		case 0x91:
			ecg.hr = (g_parser_buffer[10] << 8) | g_parser_buffer[9];
			ecg.rr = (g_parser_buffer[12] << 8) | g_parser_buffer[11];
			break;
		case 0x94:
			ecg.hr_ar_ch_Analysis = g_parser_buffer[9];
			break;
		case 0x98:
			ecg.st_group = g_parser_buffer[9];
			ecg.st1 = (g_parser_buffer[11] << 8) | g_parser_buffer[10];
			ecg.st2 = (g_parser_buffer[13] << 8) | g_parser_buffer[12];
			ecg.st3 = (g_parser_buffer[15] << 8) | g_parser_buffer[14];
			break;
		case 0xB0:
			temp.t1 = (g_parser_buffer[10] << 8) | g_parser_buffer[9];
			temp.t2 = (g_parser_buffer[12] << 8) | g_parser_buffer[11];
			temp.temp_status = g_parser_buffer[13];
			break;
		case 0x92:
			ecg.lead_active = g_parser_buffer[9];
			ecg.ch_active = g_parser_buffer[11];
			break;
		case 0x93:
			ecg.ch_overload = g_parser_buffer[9];
			ecg.cable_type = g_parser_buffer[10];
			break;
		case 0x96:
			ecg.arr_code = g_parser_buffer[9];
			ecg.last_arr = (g_parser_buffer[11] << 8) | g_parser_buffer[10];
			ecg.cur_arr = (g_parser_buffer[13] << 8) | g_parser_buffer[12];
			break;
		case 0x97:
			ecg.arr_status = g_parser_buffer[9];
			break;
		default:
			break;
		}
		break;
	case 0x03:
		switch (frame.packet_id) {
		case 0x80:
			break;
		default:
			break;
		}
		break;
	}
}

static void spo2_handler(void) {
	switch (frame.packet_type) {
	case 0x04:
		switch (frame.packet_id) {
		case 0x81:
			HAL_UART_Transmit_DMA(&huart1, spo2_database[0], 10);
			break;
		case 0x84:
			spo2.pulseWaveform = g_parser_buffer[9];
			spo2.pulseTone = g_parser_buffer[9];
			spo2.barGraph = g_parser_buffer[9];
			spo2_send.pulse_flag = 1;
			break;
		case 0x85:
			spo2.PR = (g_parser_buffer[10] << 8) | g_parser_buffer[9];
			spo2.spo2 = g_parser_buffer[11];
			spo2.PI = (g_parser_buffer[13] << 8) | g_parser_buffer[12];
			spo2.status1 = g_parser_buffer[14];
			spo2.status2 = g_parser_buffer[15];
			memset(&spo2_status, 0, sizeof(spo2_status));
			spo2_send.data_flag = 1;
			if (spo2.status1 == 0x00 && spo2.status2 == 0x00) {
				spo2_send.successflag = 1;
			} else {
				if (spo2.status1 & (1 << 0)) {
					spo2_status.hypoperfusion = 1;
					spo2_send.successflag = 1;
				} else
					spo2_status.hypoperfusion = 0;

				if (spo2.status1 & (1 << 1)) {
					spo2_status.motion = 1;
					spo2_send.successflag = 1;
				} else
					spo2_status.motion = 0;

				if (spo2.status1 & (1 << 2)) {
					spo2_status.excess_motion = 1;
					spo2_send.successflag = 1;
				} else
					spo2_status.excess_motion = 0;

				if (spo2.status1 & (1 << 3)) {
					spo2_status.searching = 1;
					spo2_send.errorflag = 1;
				} else
					spo2_status.searching = 0;

				if (spo2.status1 & (1 << 4)) {
					spo2_status.search_timeout = 1;
					spo2_send.errorflag = 1;
				} else
					spo2_status.search_timeout = 0;

				if (spo2.status1 & (1 << 5)) {
					spo2_status.sensor_off = 1;
					spo2_send.errorflag = 1;
				} else
					spo2_status.sensor_off = 0;

				if (spo2.status1 & (1 << 6)) {
					spo2_status.finger_off = 1;
					spo2_send.errorflag = 1;
				} else
					spo2_status.finger_off = 0;

				if (spo2.status1 & (1 << 7)) {
					spo2_status.probe_fault = 1;
					spo2_send.errorflag = 1;
				} else
					spo2_status.probe_fault = 0;

				if (spo2.status2 & (1 << 0)) {
					spo2_status.hw_error = 1;
					spo2_send.errorflag = 1;
				} else
					spo2_status.hw_error = 0;

				if (spo2.status2 & (1 << 1)) {
					spo2_status.light_high = 1;
					spo2_send.successflag = 1;
				} else
					spo2_status.light_high = 0;

				if (spo2.status2 & (1 << 2)) {
					spo2_status.probe_mismatch = 1;
					spo2_send.errorflag = 1;
				} else
					spo2_status.probe_mismatch = 0;
			}
			break;
		default:
			break;
		}
		break;
	case 0x03:
		switch (frame.packet_id) {
		case 0x80:
			spo2.handshakestatus = g_parser_buffer[9];
			if (spo2.handshakestatus == 0x80) {
				// Configuration can be done
			} else {
				HAL_UART_Transmit_DMA(&huart1, spo2_database[0], 10);
			}
			break;
		case 0x83:
			break;
		default:
			break;
		}
		break;
	}
}

static void nibp_handler(void) {
	switch (frame.packet_type) {
	case 0x04:
		switch (frame.packet_id) {
		case 0x81:
			HAL_UART_Transmit_DMA(&huart1, nibp_database[0], 10);
			break;
		case 0x84:
			nibp.cuffPressure = (g_parser_buffer[10] << 8) | g_parser_buffer[9];
			nibp.cuffTypeError = g_parser_buffer[11];
			nibp.systemStatus = g_parser_buffer[12];
			break;
		case 0x86:
			nibp.operationtype = g_parser_buffer[9];
			nibp.start_end_Status = g_parser_buffer[10];
			if (nibp.start_end_Status == 0x00) {
				HAL_UART_Transmit_DMA(&huart1, nibp_database[2], 10);
			}
			break;
		default:
			break;
		}
		break;
	case 0x03:
		switch (frame.packet_id) {
		case 0x80:
			spo2.handshakestatus = g_parser_buffer[9];
			if (spo2.handshakestatus == 0x08) {
				// Configuration can be done
			} else {
				HAL_UART_Transmit_DMA(&huart1, spo2_database[0], 10);
			}
			break;
		case 0x83:
			nibp.SYS = (g_parser_buffer[10] << 8) | g_parser_buffer[9];
			nibp.DIA = (g_parser_buffer[12] << 8) | g_parser_buffer[11];
			nibp.MAP = (g_parser_buffer[14] << 8) | g_parser_buffer[13];
			nibp.PI = (g_parser_buffer[16] << 8) | g_parser_buffer[15];
			nibp.patient_type = g_parser_buffer[17];
			nibp.errorCode = g_parser_buffer[18];
			nibp.measurement_Status = g_parser_buffer[19];
			nibp.measurement_result_Status = g_parser_buffer[20];
			break;
		default:
			break;
		}
		break;
	}
}
/* USER CODE END 4 */

void Error_Handler(void)
{
  __disable_irq();
  while (1)
  {
  }
}
